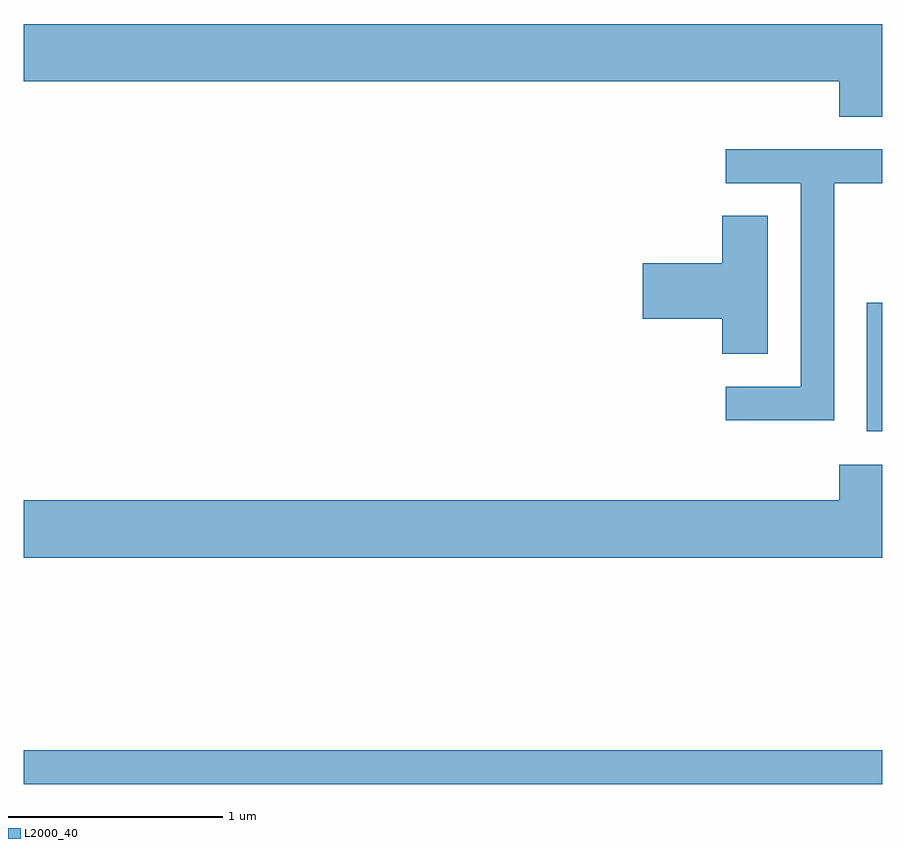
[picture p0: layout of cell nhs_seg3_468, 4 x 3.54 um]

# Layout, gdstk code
import gdstk
lib = gdstk.Library(unit=1e-6, precision=1e-09)
def R(c, l, rs):  # rectangles x0, y0, x1, y1
    for r in rs: c.add(gdstk.rectangle(r[:2], r[2:], *l))
def P(c, l, *ps):  # polygons
    for p in ps: c.add(gdstk.Polygon(p, *l))
L2000_40 = (2000, 40)

nhs_seg3_468 = lib.new_cell('nhs_seg3_468')
R(nhs_seg3_468, L2000_40, [(197.611,1235.961,201.611,1236.119), (201.541,1237.606,201.611,1238.204)])
P(nhs_seg3_468, L2000_40, [(201.611,1239.504),(197.611,1239.504),(197.611,1239.236),(201.411,1239.236),(201.411,1239.071),(201.611,1239.071)],
  [(201.389,1238.761),(201.611,1238.761),(201.611,1238.919),(200.883,1238.919),(200.883,1238.761),(201.231,1238.761),(201.231,1237.814),(200.883,1237.814),(200.883,1237.656),(201.389,1237.656)],
  [(201.079,1238.609),(200.866,1238.609),(200.866,1238.389),(200.496,1238.389),(200.496,1238.131),(200.866,1238.131),(200.866,1237.966),(201.079,1237.966)],
  [(201.611,1237.449),(201.411,1237.449),(201.411,1237.284),(197.611,1237.284),(197.611,1237.016),(201.611,1237.016)])

lib.write_gds('nhs_seg3_468.gds')
